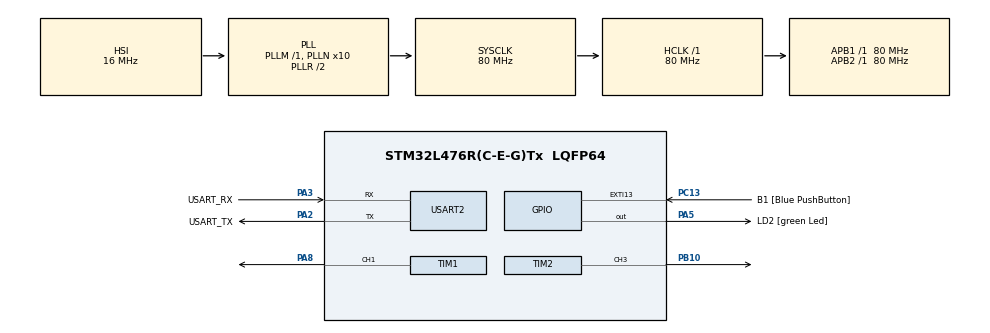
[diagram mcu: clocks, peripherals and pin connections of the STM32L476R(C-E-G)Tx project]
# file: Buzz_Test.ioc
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Mcu.Family=STM32L4
Mcu.Name=STM32L476R(C-E-G)Tx
Mcu.Package=LQFP64
NVIC.PriorityGroup=NVIC_PRIORITYGROUP_4
PA13\ (JTMS-SWDIO).GPIO_Label=TMS
PA13\ (JTMS-SWDIO).Mode=Serial_Wire
PA13\ (JTMS-SWDIO).Signal=SYS_JTMS-SWDIO
PA14\ (JTCK-SWCLK).GPIO_Label=TCK
PA14\ (JTCK-SWCLK).Mode=Serial_Wire
PA14\ (JTCK-SWCLK).Signal=SYS_JTCK-SWCLK
PA2.GPIO_Label=USART_TX
PA2.GPIO_Mode=GPIO_MODE_AF_PP
PA2.GPIO_PuPd=GPIO_NOPULL
PA2.GPIO_Speed=GPIO_SPEED_FREQ_VERY_HIGH
PA2.Mode=Asynchronous
PA2.Signal=USART2_TX
PA3.GPIO_Label=USART_RX
PA3.GPIO_Mode=GPIO_MODE_AF_PP
PA3.GPIO_PuPd=GPIO_NOPULL
PA3.GPIO_Speed=GPIO_SPEED_FREQ_VERY_HIGH
PA3.Mode=Asynchronous
PA3.Signal=USART2_RX
PA5.GPIO_Label=LD2 [green Led]
PA5.GPIO_ModeDefaultOutputPP=GPIO_MODE_OUTPUT_PP
PA5.GPIO_PuPd=GPIO_NOPULL
PA5.GPIO_Speed=GPIO_SPEED_FREQ_LOW
PA5.Signal=GPIO_Output
PA8.GPIO_ModeDefaultPP=GPIO_MODE_AF_PP
PA8.Signal=S_TIM1_CH1
PB10.Signal=S_TIM2_CH3
PB3\ (JTDO-TRACESWO).GPIO_Label=SWO
PB3\ (JTDO-TRACESWO).Signal=SYS_JTDO-SWO
PC13.GPIO_Label=B1 [Blue PushButton]
PC13.GPIO_ModeDefaultEXTI=GPIO_MODE_IT_FALLING
PC13.GPIO_PuPd=GPIO_NOPULL
PC13.Signal=GPXTI13
PC14-OSC32_IN\ (PC14).Mode=LSE-External-Oscillator
PC14-OSC32_IN\ (PC14).Signal=RCC_OSC32_IN
PC15-OSC32_OUT\ (PC15).Mode=LSE-External-Oscillator
PC15-OSC32_OUT\ (PC15).Signal=RCC_OSC32_OUT
PH0-OSC_IN\ (PH0).Signal=RCC_OSC_IN
PH1-OSC_OUT\ (PH1).Signal=RCC_OSC_OUT
ProjectManager.HeapSize=0x200
ProjectManager.StackSize=0x400
ProjectManager.TargetToolchain=STM32CubeIDE
RCC.ADCFreq_Value=64000000
RCC.AHBFreq_Value=80000000
RCC.APB1Freq_Value=80000000
RCC.APB1TimFreq_Value=80000000
RCC.APB2Freq_Value=80000000
RCC.APB2TimFreq_Value=80000000
RCC.CortexFreq_Value=80000000
RCC.HCLKFreq_Value=80000000
RCC.HSE_VALUE=8000000
RCC.HSI_VALUE=16000000
RCC.MSI_VALUE=4000000
RCC.PLLN=10
RCC.PLLSourceVirtual=RCC_PLLSOURCE_HSI
RCC.PREFETCH_ENABLE=1
RCC.SYSCLKFreq_VALUE=80000000
RCC.SYSCLKSource=RCC_SYSCLKSOURCE_PLLCLK
RCC.USBFreq_Value=64000000
RCC.VCOOutputFreq_Value=160000000
SH.S_TIM1_CH1.0=TIM1_CH1,PWM Generation1 CH1
SH.S_TIM2_CH3.0=TIM2_CH3,PWM Generation3 CH3
TIM1.AutoReloadPreload=TIM_AUTORELOAD_PRELOAD_ENABLE
TIM1.Channel-PWM\ Generation1\ CH1=TIM_CHANNEL_1
TIM1.Period=999
TIM1.Prescaler=79
TIM2.Channel-PWM\ Generation3\ CH3=TIM_CHANNEL_3
TIM2.Prescaler=3000
USART2.VirtualMode-Asynchronous=VM_ASYNC
VP_TIM2_VS_ClockSourceINT.Mode=Internal
board=NUCLEO-L476RG

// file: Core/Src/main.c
/* !IMPORTANT CONFIGURATION INFORMATION!
 *
 * PWM needs to be set up using "TIM_1" on pin "PA8", otherwise known as pin "D7"
 * PA8 Needs to be set up using "Channel 1" set to "PWM Generation CH1"
 * "Prescaler" value should be set to "79", and the "Counter Period" should be "999"
 * Both "Prescaler" and "Counter Period" are under parameters
 * In the GPIO settings, the GPIO mode should be "Alternate Function Push Pull"
 *
 * Configuration exists within the main file is included here, the other dependency-
 * -settings should be filled in by the user manually or through MX.
 *
 * */
/* USER CODE BEGIN Header */
/* USER CODE END Header */
#include "main.h"

TIM_HandleTypeDef htim1;
TIM_HandleTypeDef htim2;

UART_HandleTypeDef huart2;

void SystemClock_Config(void);
static void MX_GPIO_Init(void);
static void MX_USART2_UART_Init(void);
static void MX_TIM2_Init(void);
static void MX_TIM1_Init(void);

/* USER CODE BEGIN 0 */
void Vibration_Toggle()
{

	HAL_TIM_PWM_Start(&htim1, TIM_CHANNEL_1);

	// Set duty cycle (50%)
	__HAL_TIM_SET_COMPARE(&htim1, TIM_CHANNEL_1, 500);

	HAL_Delay(2000);

	HAL_TIM_PWM_Stop(&htim1, TIM_CHANNEL_1);
	__HAL_TIM_MOE_DISABLE(&htim1);
}

void Vibration_Three_Buzz()
{
	//Starts PWM and associated timer
	HAL_TIM_PWM_Start(&htim1, TIM_CHANNEL_1);

	//Set duty cycle (100%)
	__HAL_TIM_SET_COMPARE(&htim1, TIM_CHANNEL_1, 1000);

	HAL_Delay(240);

	HAL_TIM_PWM_Stop(&htim1, TIM_CHANNEL_1);
	__HAL_TIM_MOE_DISABLE(&htim1);

	HAL_Delay(50);

	HAL_TIM_PWM_Start(&htim1, TIM_CHANNEL_1);

	//Set duty cycle (100%)
	__HAL_TIM_SET_COMPARE(&htim1, TIM_CHANNEL_1, 1000);

	HAL_Delay(240);

	HAL_TIM_PWM_Stop(&htim1, TIM_CHANNEL_1);
	__HAL_TIM_MOE_DISABLE(&htim1);

	HAL_Delay(50);

	HAL_TIM_PWM_Start(&htim1, TIM_CHANNEL_1);

	//Set duty cycle (100%)
	__HAL_TIM_SET_COMPARE(&htim1, TIM_CHANNEL_1, 1000);

	HAL_Delay(240);

	HAL_TIM_PWM_Stop(&htim1, TIM_CHANNEL_1);
	__HAL_TIM_MOE_DISABLE(&htim1);

}

void Vibration_Maximum()
{
	HAL_TIM_PWM_Start(&htim1, TIM_CHANNEL_1);

	//Set duty cycle (100%)
	__HAL_TIM_SET_COMPARE(&htim1, TIM_CHANNEL_1, 1000);

	HAL_Delay(2000);

	HAL_TIM_PWM_Stop(&htim1, TIM_CHANNEL_1);
	__HAL_TIM_MOE_DISABLE(&htim1);
}

void Vibration_Small()
{
	HAL_TIM_PWM_Start(&htim1, TIM_CHANNEL_1);

	//Set duty cycle (43%)
	__HAL_TIM_SET_COMPARE(&htim1, TIM_CHANNEL_1, 430);

	HAL_Delay(2000);

	HAL_TIM_PWM_Stop(&htim1, TIM_CHANNEL_1);
	__HAL_TIM_MOE_DISABLE(&htim1);
}

void Vibration_Two_Tone()
{
	HAL_TIM_PWM_Start(&htim1, TIM_CHANNEL_1);

	//Set duty cycle (50%)
	__HAL_TIM_SET_COMPARE(&htim1, TIM_CHANNEL_1, 500);

	HAL_Delay(1000);

	//Set duty cycle (100%)
	__HAL_TIM_SET_COMPARE(&htim1, TIM_CHANNEL_1, 1000);

	HAL_Delay(1000);

	HAL_TIM_PWM_Stop(&htim1, TIM_CHANNEL_1);
	__HAL_TIM_MOE_DISABLE(&htim1);
}

/* USER CODE END 0 */

int main(void)
{

  /* MCU Configuration--------------------------------------------------------*/

  /* Reset of all peripherals, Initializes the Flash interface and the Systick. */
  HAL_Init();

  /* Configure the system clock */
  SystemClock_Config();

  /* Initialize all configured peripherals */
  MX_GPIO_Init();
  MX_USART2_UART_Init();
  MX_TIM2_Init();
  MX_TIM1_Init();
  /* USER CODE BEGIN 2 */

  // Old test code (Use at your own risk)
  // HAL_TIM_PWM_Start(&htim1, TIM_CHANNEL_1);

  // Set duty cycle (50%)
  // HAL_TIM_PWM_Start(&htim1, TIM_CHANNEL_1);

  // __HAL_TIM_SET_COMPARE(&htim1, TIM_CHANNEL_1, 500);

  // HAL_Delay(3000);

  // HAL_TIM_PWM_Stop(&htim1, TIM_CHANNEL_1);
  // __HAL_TIM_MOE_DISABLE(&htim1);

  // Two-tone 50% to 100% vibration
  Vibration_Two_Tone();

  HAL_Delay(2000);

  // 2-second vibration toggle
  Vibration_Toggle();

  HAL_Delay(2000);

  // Vibrates three times
  Vibration_Three_Buzz();

  HAL_Delay(2000);

  // Maximum Vibration for 2 seconds
  Vibration_Maximum();

  HAL_Delay(2000);

  // Small 43% vibration (!LOWER DOES NOT TOGGLE THE MOTOR CORRECLTY, KEEP AT 43!)
  Vibration_Small();

  /* USER CODE END 2 */

  /* Infinite loop */

}

void SystemClock_Config(void)
{
  RCC_OscInitTypeDef RCC_OscInitStruct = {0};
  RCC_ClkInitTypeDef RCC_ClkInitStruct = {0};

  /** Configure the main internal regulator output voltage
  */
  if (HAL_PWREx_ControlVoltageScaling(PWR_REGULATOR_VOLTAGE_SCALE1) != HAL_OK)
  {
    Error_Handler();
  }

  /** Initializes the RCC Oscillators according to the specified parameters
  * in the RCC_OscInitTypeDef structure.
  */
  RCC_OscInitStruct.OscillatorType = RCC_OSCILLATORTYPE_HSI;
  RCC_OscInitStruct.HSIState = RCC_HSI_ON;
  RCC_OscInitStruct.HSICalibrationValue = RCC_HSICALIBRATION_DEFAULT;
  RCC_OscInitStruct.PLL.PLLState = RCC_PLL_ON;
  RCC_OscInitStruct.PLL.PLLSource = RCC_PLLSOURCE_HSI;
  RCC_OscInitStruct.PLL.PLLM = 1;
  RCC_OscInitStruct.PLL.PLLN = 10;
  RCC_OscInitStruct.PLL.PLLP = RCC_PLLP_DIV7;
  RCC_OscInitStruct.PLL.PLLQ = RCC_PLLQ_DIV2;
  RCC_OscInitStruct.PLL.PLLR = RCC_PLLR_DIV2;
  if (HAL_RCC_OscConfig(&RCC_OscInitStruct) != HAL_OK)
  {
    Error_Handler();
  }

  /** Initializes the CPU, AHB and APB buses clocks
  */
  RCC_ClkInitStruct.ClockType = RCC_CLOCKTYPE_HCLK|RCC_CLOCKTYPE_SYSCLK
                              |RCC_CLOCKTYPE_PCLK1|RCC_CLOCKTYPE_PCLK2;
  RCC_ClkInitStruct.SYSCLKSource = RCC_SYSCLKSOURCE_PLLCLK;
  RCC_ClkInitStruct.AHBCLKDivider = RCC_SYSCLK_DIV1;
  RCC_ClkInitStruct.APB1CLKDivider = RCC_HCLK_DIV1;
  RCC_ClkInitStruct.APB2CLKDivider = RCC_HCLK_DIV1;

  if (HAL_RCC_ClockConfig(&RCC_ClkInitStruct, FLASH_LATENCY_4) != HAL_OK)
  {
    Error_Handler();
  }
}

static void MX_TIM1_Init(void)
{

  TIM_MasterConfigTypeDef sMasterConfig = {0};
  TIM_OC_InitTypeDef sConfigOC = {0};
  TIM_BreakDeadTimeConfigTypeDef sBreakDeadTimeConfig = {0};

  htim1.Instance = TIM1;
  htim1.Init.Prescaler = 79;
  htim1.Init.CounterMode = TIM_COUNTERMODE_UP;
  htim1.Init.Period = 999;
  htim1.Init.ClockDivision = TIM_CLOCKDIVISION_DIV1;
  htim1.Init.RepetitionCounter = 0;
  htim1.Init.AutoReloadPreload = TIM_AUTORELOAD_PRELOAD_ENABLE;
  if (HAL_TIM_PWM_Init(&htim1) != HAL_OK)
  {
    Error_Handler();
  }
  sMasterConfig.MasterOutputTrigger = TIM_TRGO_RESET;
  sMasterConfig.MasterOutputTrigger2 = TIM_TRGO2_RESET;
  sMasterConfig.MasterSlaveMode = TIM_MASTERSLAVEMODE_DISABLE;
  if (HAL_TIMEx_MasterConfigSynchronization(&htim1, &sMasterConfig) != HAL_OK)
  {
    Error_Handler();
  }
  sConfigOC.OCMode = TIM_OCMODE_PWM1;
  sConfigOC.Pulse = 0;
  sConfigOC.OCPolarity = TIM_OCPOLARITY_HIGH;
  sConfigOC.OCNPolarity = TIM_OCNPOLARITY_HIGH;
  sConfigOC.OCFastMode = TIM_OCFAST_DISABLE;
  sConfigOC.OCIdleState = TIM_OCIDLESTATE_RESET;
  sConfigOC.OCNIdleState = TIM_OCNIDLESTATE_RESET;
  if (HAL_TIM_PWM_ConfigChannel(&htim1, &sConfigOC, TIM_CHANNEL_1) != HAL_OK)
  {
    Error_Handler();
  }
  sBreakDeadTimeConfig.OffStateRunMode = TIM_OSSR_DISABLE;
  sBreakDeadTimeConfig.OffStateIDLEMode = TIM_OSSI_DISABLE;
  sBreakDeadTimeConfig.LockLevel = TIM_LOCKLEVEL_OFF;
  sBreakDeadTimeConfig.DeadTime = 0;
  sBreakDeadTimeConfig.BreakState = TIM_BREAK_DISABLE;
  sBreakDeadTimeConfig.BreakPolarity = TIM_BREAKPOLARITY_HIGH;
  sBreakDeadTimeConfig.BreakFilter = 0;
  sBreakDeadTimeConfig.Break2State = TIM_BREAK2_DISABLE;
  sBreakDeadTimeConfig.Break2Polarity = TIM_BREAK2POLARITY_HIGH;
  sBreakDeadTimeConfig.Break2Filter = 0;
  sBreakDeadTimeConfig.AutomaticOutput = TIM_AUTOMATICOUTPUT_DISABLE;
  if (HAL_TIMEx_ConfigBreakDeadTime(&htim1, &sBreakDeadTimeConfig) != HAL_OK)
  {
    Error_Handler();
  }
  HAL_TIM_MspPostInit(&htim1);

}

static void MX_TIM2_Init(void)
{

  TIM_ClockConfigTypeDef sClockSourceConfig = {0};
  TIM_MasterConfigTypeDef sMasterConfig = {0};
  TIM_OC_InitTypeDef sConfigOC = {0};

  htim2.Instance = TIM2;
  htim2.Init.Prescaler = 3000;
  htim2.Init.CounterMode = TIM_COUNTERMODE_UP;
  htim2.Init.Period = 4294967295;
  htim2.Init.ClockDivision = TIM_CLOCKDIVISION_DIV1;
  htim2.Init.AutoReloadPreload = TIM_AUTORELOAD_PRELOAD_DISABLE;
  if (HAL_TIM_Base_Init(&htim2) != HAL_OK)
  {
    Error_Handler();
  }
  sClockSourceConfig.ClockSource = TIM_CLOCKSOURCE_INTERNAL;
  if (HAL_TIM_ConfigClockSource(&htim2, &sClockSourceConfig) != HAL_OK)
  {
    Error_Handler();
  }
  if (HAL_TIM_PWM_Init(&htim2) != HAL_OK)
  {
    Error_Handler();
  }
  sMasterConfig.MasterOutputTrigger = TIM_TRGO_RESET;
  sMasterConfig.MasterSlaveMode = TIM_MASTERSLAVEMODE_DISABLE;
  if (HAL_TIMEx_MasterConfigSynchronization(&htim2, &sMasterConfig) != HAL_OK)
  {
    Error_Handler();
  }
  sConfigOC.OCMode = TIM_OCMODE_PWM1;
  sConfigOC.Pulse = 0;
  sConfigOC.OCPolarity = TIM_OCPOLARITY_HIGH;
  sConfigOC.OCFastMode = TIM_OCFAST_DISABLE;
  if (HAL_TIM_PWM_ConfigChannel(&htim2, &sConfigOC, TIM_CHANNEL_3) != HAL_OK)
  {
    Error_Handler();
  }
  HAL_TIM_MspPostInit(&htim2);

}

static void MX_USART2_UART_Init(void)
{

  huart2.Instance = USART2;
  huart2.Init.BaudRate = 115200;
  huart2.Init.WordLength = UART_WORDLENGTH_8B;
  huart2.Init.StopBits = UART_STOPBITS_1;
  huart2.Init.Parity = UART_PARITY_NONE;
  huart2.Init.Mode = UART_MODE_TX_RX;
  huart2.Init.HwFlowCtl = UART_HWCONTROL_NONE;
  huart2.Init.OverSampling = UART_OVERSAMPLING_16;
  huart2.Init.OneBitSampling = UART_ONE_BIT_SAMPLE_DISABLE;
  huart2.AdvancedInit.AdvFeatureInit = UART_ADVFEATURE_NO_INIT;
  if (HAL_UART_Init(&huart2) != HAL_OK)
  {
    Error_Handler();
  }

}

static void MX_GPIO_Init(void)
{
  GPIO_InitTypeDef GPIO_InitStruct = {0};

  /* GPIO Ports Clock Enable */
  __HAL_RCC_GPIOC_CLK_ENABLE();
  __HAL_RCC_GPIOH_CLK_ENABLE();
  __HAL_RCC_GPIOA_CLK_ENABLE();
  __HAL_RCC_GPIOB_CLK_ENABLE();

  /*Configure GPIO pin Output Level */
  HAL_GPIO_WritePin(LD2_GPIO_Port, LD2_Pin, GPIO_PIN_RESET);

  /*Configure GPIO pin : B1_Pin */
  GPIO_InitStruct.Pin = B1_Pin;
  GPIO_InitStruct.Mode = GPIO_MODE_IT_FALLING;
  GPIO_InitStruct.Pull = GPIO_NOPULL;
  HAL_GPIO_Init(B1_GPIO_Port, &GPIO_InitStruct);

  /*Configure GPIO pin : LD2_Pin */
  GPIO_InitStruct.Pin = LD2_Pin;
  GPIO_InitStruct.Mode = GPIO_MODE_OUTPUT_PP;
  GPIO_InitStruct.Pull = GPIO_NOPULL;
  GPIO_InitStruct.Speed = GPIO_SPEED_FREQ_LOW;
  HAL_GPIO_Init(LD2_GPIO_Port, &GPIO_InitStruct);

}

void Error_Handler(void)
{
}
